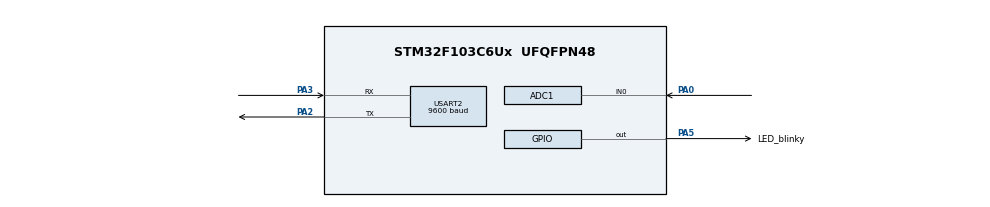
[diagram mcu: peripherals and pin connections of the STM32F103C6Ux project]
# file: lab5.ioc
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ADC1.Channel-0\#ChannelRegularConversion=ADC_CHANNEL_0
ADC1.ContinuousConvMode=ENABLE
ADC1.NbrOfConversionFlag=1
ADC1.Rank-0\#ChannelRegularConversion=1
ADC1.SamplingTime-0\#ChannelRegularConversion=ADC_SAMPLETIME_1CYCLE_5
ADC1.master=1
Mcu.Family=STM32F1
Mcu.Name=STM32F103C6Ux
Mcu.Package=UFQFPN48
NVIC.PriorityGroup=NVIC_PRIORITYGROUP_4
NVIC.USART2_IRQn=true\:0\:0\:false\:false\:true\:true\:true
PA0-WKUP.Signal=ADCx_IN0
PA2.Mode=Asynchronous
PA2.Signal=USART2_TX
PA3.Mode=Asynchronous
PA3.Signal=USART2_RX
PA5.GPIO_Label=LED_blinky
PA5.Signal=GPIO_Output
ProjectManager.HeapSize=0x200
ProjectManager.StackSize=0x400
ProjectManager.TargetToolchain=STM32CubeIDE
RCC.APB1Freq_Value=8000000
RCC.APB2Freq_Value=8000000
SH.ADCx_IN0.0=ADC1_IN0,IN0
USART2.BaudRate=9600
USART2.VirtualMode=VM_ASYNC
VP_SYS_VS_ND.Mode=No_Debug
board=custom

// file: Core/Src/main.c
/* USER CODE BEGIN Header */
/**
  ******************************************************************************
  * @file           : main.c
  * @brief          : Main program body
  ******************************************************************************
  * @attention
  *
  * <h2><center>&copy; Copyright (c) 2026 STMicroelectronics.
  * All rights reserved.</center></h2>
  *
  * This software component is licensed by ST under BSD 3-Clause license,
  * the "License"; You may not use this file except in compliance with the
  * License. You may obtain a copy of the License at:
  *                        opensource.org/licenses/BSD-3-Clause
  *
  ******************************************************************************
  */
/* USER CODE END Header */
#include "main.h"

/* USER CODE BEGIN Includes */
#include "fsm_uart.h"
#include "fsm_parser.h"
/* USER CODE END Includes */

ADC_HandleTypeDef hadc1;

UART_HandleTypeDef huart2;

void SystemClock_Config(void);
static void MX_GPIO_Init(void);
static void MX_ADC1_Init(void);
static void MX_USART2_UART_Init(void);

/* USER CODE BEGIN 0 */
uint8_t temp = 0;
uint8_t buffer[MAX_BUFFER_SIZE];
uint8_t index_buffer = 0;
uint8_t buffer_flag = 0;
void HAL_UART_RxCpltCallback(UART_HandleTypeDef *huart)
{
    if (huart->Instance == USART2)
    {
        buffer[index_buffer++] = temp;
        if (index_buffer == MAX_BUFFER_SIZE)
        {
            index_buffer = 0;
        }
        buffer_flag = 1;
        HAL_UART_Receive_IT(&huart2, &temp, 1);
    }
}

/* USER CODE END 0 */

int main(void)
{

  /* MCU Configuration--------------------------------------------------------*/

  /* Reset of all peripherals, Initializes the Flash interface and the Systick. */
  HAL_Init();

  /* Configure the system clock */
  SystemClock_Config();

  /* Initialize all configured peripherals */
  MX_GPIO_Init();
  MX_ADC1_Init();
  MX_USART2_UART_Init();
  /* USER CODE BEGIN 2 */
  HAL_ADC_Start(&hadc1);
  HAL_UART_Receive_IT(&huart2, &temp, 1);

  /* USER CODE END 2 */

  /* Infinite loop */
  /* USER CODE BEGIN WHILE */
  uint32_t led_timer = HAL_GetTick();
  while (1)
  {
	  if (buffer_flag == 1){
		  buffer_flag = 0;
	      command_parser_fsm();
	  }

	  uart_fsm();
	  if ((HAL_GetTick() - led_timer) >= 500){
		  led_timer = HAL_GetTick();
	      HAL_GPIO_TogglePin(LED_blinky_GPIO_Port, LED_blinky_Pin);
	  }
	  __WFI();
    /* USER CODE END WHILE */

  }
}

void SystemClock_Config(void)
{
  RCC_OscInitTypeDef RCC_OscInitStruct = {0};
  RCC_ClkInitTypeDef RCC_ClkInitStruct = {0};
  RCC_PeriphCLKInitTypeDef PeriphClkInit = {0};

  /** Initializes the RCC Oscillators according to the specified parameters
  * in the RCC_OscInitTypeDef structure.
  */
  RCC_OscInitStruct.OscillatorType = RCC_OSCILLATORTYPE_HSI;
  RCC_OscInitStruct.HSIState = RCC_HSI_ON;
  RCC_OscInitStruct.HSICalibrationValue = RCC_HSICALIBRATION_DEFAULT;
  RCC_OscInitStruct.PLL.PLLState = RCC_PLL_NONE;
  if (HAL_RCC_OscConfig(&RCC_OscInitStruct) != HAL_OK)
  {
    Error_Handler();
  }
  /** Initializes the CPU, AHB and APB buses clocks
  */
  RCC_ClkInitStruct.ClockType = RCC_CLOCKTYPE_HCLK|RCC_CLOCKTYPE_SYSCLK
                              |RCC_CLOCKTYPE_PCLK1|RCC_CLOCKTYPE_PCLK2;
  RCC_ClkInitStruct.SYSCLKSource = RCC_SYSCLKSOURCE_HSI;
  RCC_ClkInitStruct.AHBCLKDivider = RCC_SYSCLK_DIV1;
  RCC_ClkInitStruct.APB1CLKDivider = RCC_HCLK_DIV1;
  RCC_ClkInitStruct.APB2CLKDivider = RCC_HCLK_DIV1;

  if (HAL_RCC_ClockConfig(&RCC_ClkInitStruct, FLASH_LATENCY_0) != HAL_OK)
  {
    Error_Handler();
  }
  PeriphClkInit.PeriphClockSelection = RCC_PERIPHCLK_ADC;
  PeriphClkInit.AdcClockSelection = RCC_ADCPCLK2_DIV2;
  if (HAL_RCCEx_PeriphCLKConfig(&PeriphClkInit) != HAL_OK)
  {
    Error_Handler();
  }
}

static void MX_ADC1_Init(void)
{

  ADC_ChannelConfTypeDef sConfig = {0};

  /** Common config
  */
  hadc1.Instance = ADC1;
  hadc1.Init.ScanConvMode = ADC_SCAN_DISABLE;
  hadc1.Init.ContinuousConvMode = ENABLE;
  hadc1.Init.DiscontinuousConvMode = DISABLE;
  hadc1.Init.ExternalTrigConv = ADC_SOFTWARE_START;
  hadc1.Init.DataAlign = ADC_DATAALIGN_RIGHT;
  hadc1.Init.NbrOfConversion = 1;
  if (HAL_ADC_Init(&hadc1) != HAL_OK)
  {
    Error_Handler();
  }
  /** Configure Regular Channel
  */
  sConfig.Channel = ADC_CHANNEL_0;
  sConfig.Rank = ADC_REGULAR_RANK_1;
  sConfig.SamplingTime = ADC_SAMPLETIME_1CYCLE_5;
  if (HAL_ADC_ConfigChannel(&hadc1, &sConfig) != HAL_OK)
  {
    Error_Handler();
  }

}

static void MX_USART2_UART_Init(void)
{

  huart2.Instance = USART2;
  huart2.Init.BaudRate = 9600;
  huart2.Init.WordLength = UART_WORDLENGTH_8B;
  huart2.Init.StopBits = UART_STOPBITS_1;
  huart2.Init.Parity = UART_PARITY_NONE;
  huart2.Init.Mode = UART_MODE_TX_RX;
  huart2.Init.HwFlowCtl = UART_HWCONTROL_NONE;
  huart2.Init.OverSampling = UART_OVERSAMPLING_16;
  if (HAL_UART_Init(&huart2) != HAL_OK)
  {
    Error_Handler();
  }

}

static void MX_GPIO_Init(void)
{
  GPIO_InitTypeDef GPIO_InitStruct = {0};

  /* GPIO Ports Clock Enable */
  __HAL_RCC_GPIOA_CLK_ENABLE();

  /*Configure GPIO pin Output Level */
  HAL_GPIO_WritePin(LED_blinky_GPIO_Port, LED_blinky_Pin, GPIO_PIN_RESET);

  /*Configure GPIO pin : LED_blinky_Pin */
  GPIO_InitStruct.Pin = LED_blinky_Pin;
  GPIO_InitStruct.Mode = GPIO_MODE_OUTPUT_PP;
  GPIO_InitStruct.Pull = GPIO_NOPULL;
  GPIO_InitStruct.Speed = GPIO_SPEED_FREQ_LOW;
  HAL_GPIO_Init(LED_blinky_GPIO_Port, &GPIO_InitStruct);

}

/* USER CODE BEGIN 4 */
void HAL_UART_ErrorCallback(UART_HandleTypeDef *huart)
{
    if (huart->Instance == USART2)
    {
        HAL_UART_Receive_IT(&huart2, &temp, 1);
    }
}
/* USER CODE END 4 */

void Error_Handler(void)
{
  __disable_irq();
  while (1)
  {
  }
}

/************************ (C) COPYRIGHT STMicroelectronics *****END OF FILE****/
